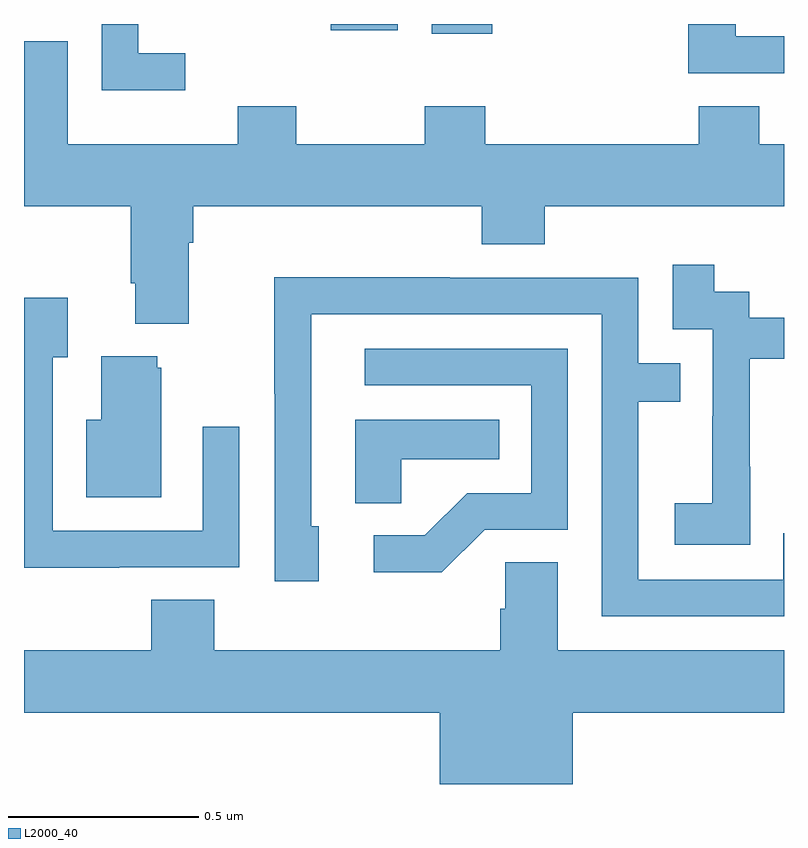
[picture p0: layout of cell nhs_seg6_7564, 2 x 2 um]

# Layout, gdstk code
import gdstk
lib = gdstk.Library(unit=1e-6, precision=1e-09)
def R(c, l, rs):  # rectangles x0, y0, x1, y1
    for r in rs: c.add(gdstk.rectangle(r[:2], r[2:], *l))
def P(c, l, *ps):  # polygons
    for p in ps: c.add(gdstk.Polygon(p, *l))
L2000_40 = (2000, 40)

nhs_seg6_7564 = lib.new_cell('nhs_seg6_7564')
R(nhs_seg6_7564, L2000_40, [(211.073,930.474,211.232,930.5), (210.807,930.483,210.984,930.5)])
P(nhs_seg6_7564, L2000_40, [(210.424,930.423),(210.3,930.423),(210.3,930.5),(210.204,930.5),(210.204,930.326),(210.424,930.326)],
  [(212,930.468),(211.873,930.468),(211.873,930.5),(211.748,930.5),(211.748,930.371),(212,930.371)],
  [(210.433,929.924),(210.446,929.924),(210.446,930.02),(211.205,930.02),(211.205,929.921),(211.37,929.921),(211.37,930.02),(212,930.02),(212,930.184),(211.935,930.184),(211.935,930.283),(211.775,930.283),(211.775,930.184),(211.214,930.184),(211.214,930.283),(211.054,930.283),(211.054,930.184),(210.717,930.184),(210.717,930.283),(210.562,930.283),(210.562,930.184),(210.115,930.184),(210.115,930.455),(210,930.455),(210,930.02),(210.281,930.02),(210.281,929.818),(210.293,929.818),(210.293,929.711),(210.433,929.711)],
  [(211.911,929.335),(211.91,929.335),(211.91,929.619),(212,929.619),(212,929.727),(211.908,929.727),(211.908,929.796),(211.816,929.796),(211.816,929.866),(211.707,929.866),(211.707,929.697),(211.812,929.697),(211.812,929.468),(211.811,929.468),(211.811,929.239),(211.713,929.239),(211.713,929.129),(211.911,929.129)],
  [(212,929.16),(211.998,929.16),(211.998,929.037),(211.617,929.037),(211.617,929.506),(211.727,929.506),(211.727,929.607),(211.617,929.607),(211.617,929.832),(211.121,929.832),(211.121,929.834),(210.658,929.834),(210.658,929.527),(210.66,929.527),(210.66,929.034),(210.775,929.034),(210.775,929.178),(210.756,929.178),(210.756,929.736),(211.521,929.736),(211.521,928.941),(212,928.941)],
  [(210.251,929.07),(210.567,929.07),(210.567,929.44),(210.471,929.44),(210.471,929.166),(210.075,929.166),(210.075,929.623),(210.115,929.623),(210.115,929.779),(210,929.779),(210,929.069),(210.251,929.069)],
  [(211.212,929.169),(211.431,929.169),(211.431,929.646),(210.897,929.646),(210.897,929.55),(211.335,929.55),(211.335,929.265),(211.166,929.265),(211.055,929.154),(210.921,929.154),(210.921,929.057),(211.099,929.057)],
  [(210.361,929.595),(210.35,929.595),(210.35,929.626),(210.203,929.626),(210.203,929.458),(210.164,929.458),(210.164,929.255),(210.361,929.255)],
  [(210.993,929.354),(211.25,929.354),(211.25,929.458),(210.872,929.458),(210.872,929.239),(210.993,929.239)],
  [(211.444,928.688),(212,928.688),(212,928.852),(211.405,928.852),(211.405,929.084),(211.266,929.084),(211.266,928.961),(211.253,928.961),(211.253,928.852),(210.5,928.852),(210.5,928.985),(210.335,928.985),(210.335,928.852),(210,928.852),(210,928.688),(211.094,928.688),(211.094,928.5),(211.444,928.5)])

lib.write_gds('nhs_seg6_7564.gds')
